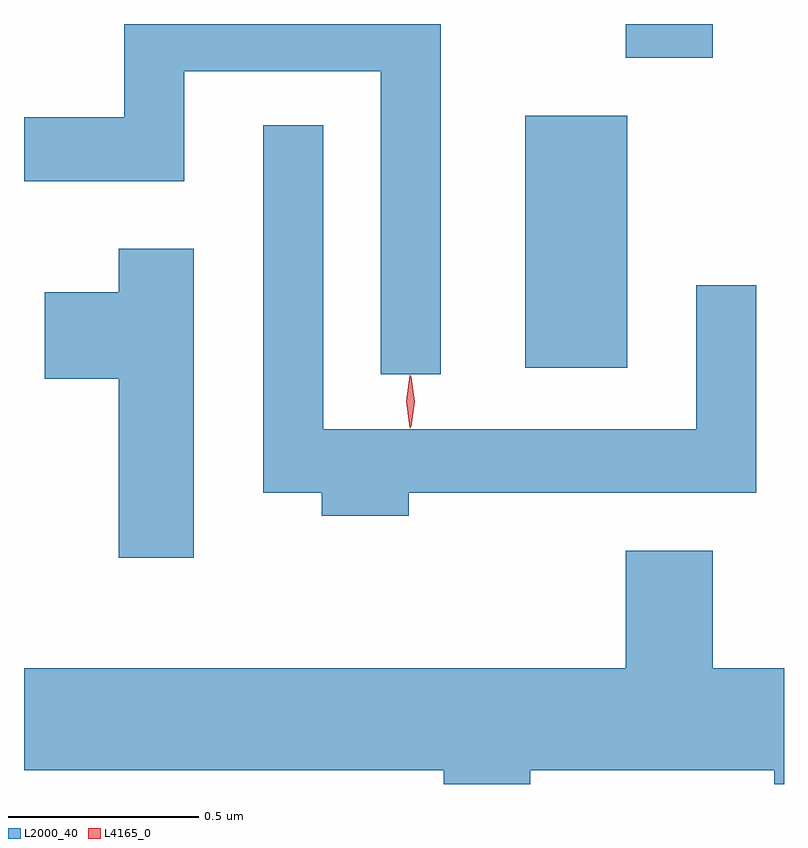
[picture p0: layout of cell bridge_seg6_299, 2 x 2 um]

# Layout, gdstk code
import gdstk
lib = gdstk.Library(unit=1e-6, precision=1e-09)
def R(c, l, rs):  # rectangles x0, y0, x1, y1
    for r in rs: c.add(gdstk.rectangle(r[:2], r[2:], *l))
def P(c, l, *ps):  # polygons
    for p in ps: c.add(gdstk.Polygon(p, *l))
L2000_40 = (2000, 40)
L4165_0 = (4165, 0)

bridge_seg6_299 = lib.new_cell('bridge_seg6_299')
R(bridge_seg6_299, L2000_40, [(1260.506,1544.436,1260.774,1545.099), (1260.771,1545.251,1260.999,1545.34)])
P(bridge_seg6_299, L2000_40, [(1260.284,1545.34),(1259.451,1545.34),(1259.451,1545.094),(1259.187,1545.094),(1259.187,1544.926),(1259.609,1544.926),(1259.609,1545.216),(1260.126,1545.216),(1260.126,1544.418),(1260.284,1544.418)],
  [(1260.199,1544.106),(1261.114,1544.106),(1261.114,1544.653),(1260.956,1544.653),(1260.956,1544.274),(1259.974,1544.274),(1259.974,1545.073),(1259.816,1545.073),(1259.816,1544.106),(1259.971,1544.106),(1259.971,1544.046),(1260.199,1544.046)],
  [(1259.634,1544.749),(1259.436,1544.749),(1259.436,1544.634),(1259.241,1544.634),(1259.241,1544.406),(1259.436,1544.406),(1259.436,1543.936),(1259.634,1543.936)],
  [(1259.187,1543.376),(1260.291,1543.376),(1260.291,1543.34),(1260.519,1543.34),(1260.519,1543.376),(1261.161,1543.376),(1261.161,1543.34),(1261.187,1543.34),(1261.187,1543.644),(1260.999,1543.644),(1260.999,1543.954),(1260.771,1543.954),(1260.771,1543.644),(1259.187,1543.644)])
P(bridge_seg6_299, L4165_0, [(1260.203,1544.277),(1260.202,1544.278),(1260.193,1544.347),(1260.202,1544.416),(1260.203,1544.416),(1260.204,1544.416),(1260.213,1544.347),(1260.204,1544.278)],
  [(1260.205,1544.28),(1260.196,1544.346),(1260.205,1544.412),(1260.206,1544.413),(1260.206,1544.412),(1260.215,1544.346),(1260.206,1544.28),(1260.206,1544.28)])

lib.write_gds('bridge_seg6_299.gds')
